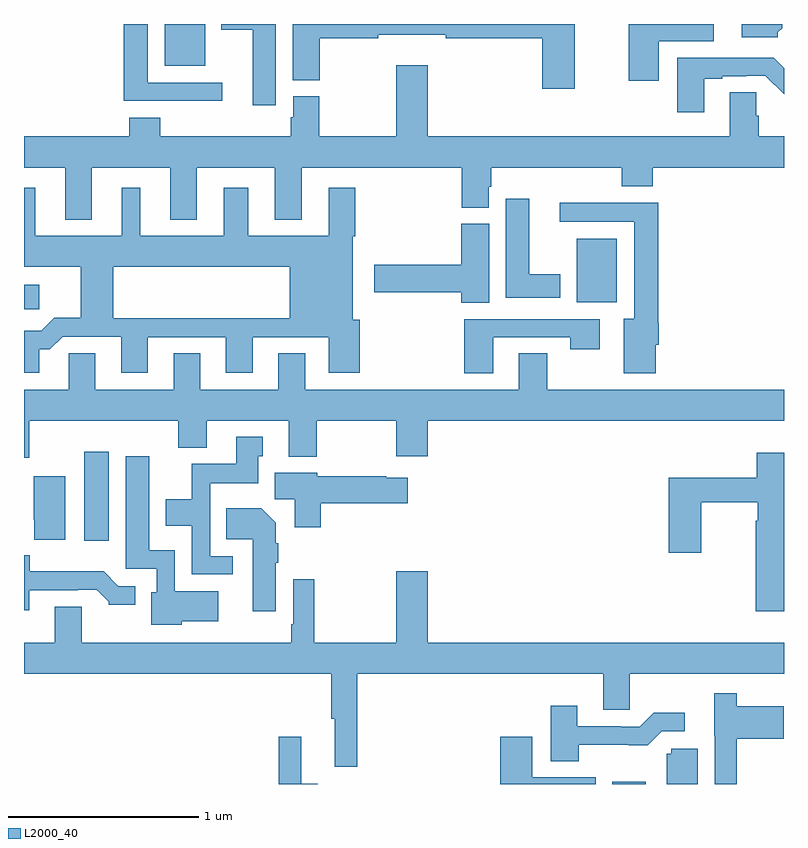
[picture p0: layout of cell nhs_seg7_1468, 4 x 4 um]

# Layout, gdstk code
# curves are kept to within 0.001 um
import gdstk
lib = gdstk.Library(unit=1e-6, precision=1e-09)
def R(c, l, rs):  # rectangles x0, y0, x1, y1
    for r in rs: c.add(gdstk.rectangle(r[:2], r[2:], *l))
def P(c, l, *ps):  # polygons
    for p in ps: c.add(gdstk.Polygon(p, *l))
L2000_40 = (2000, 40)

nhs_seg7_1468 = lib.new_cell('nhs_seg7_1468')
R(nhs_seg7_1468, L2000_40, [(214.095,1036,214.273,1036.012), (211.316,1037.28,211.447,1037.749), (211,1038.499,211.081,1038.628), (213.908,1038.536,214.12,1038.871), (211.742,1039.781,211.954,1040)])
P(nhs_seg7_1468, L2000_40, [(213.898,1040),(212.414,1040),(212.414,1039.705),(212.556,1039.705),(212.556,1039.924),(212.864,1039.924),(212.864,1039.943),(213.22,1039.943),(213.22,1039.924),(213.728,1039.924),(213.728,1039.659),(213.898,1039.659)],
  [(214.968,1039.956),(214.99,1039.978),(214.99,1040),(214.778,1040),(214.778,1039.931),(214.968,1039.931)],
  [(214.342,1039.91),(214.63,1039.91),(214.63,1040),(214.184,1040),(214.184,1039.701),(214.342,1039.701)],
  [(212.326,1040),(212.039,1040),(212.039,1039.97),(212.204,1039.97),(212.204,1039.572),(212.326,1039.572)],
  [(212.044,1039.692),(211.651,1039.692),(211.651,1040),(211.526,1040),(211.526,1039.595),(212.044,1039.595)],
  [(214.579,1039.713),(214.675,1039.713),(214.675,1039.725),(214.802,1039.725),(214.802,1039.728),(214.902,1039.728),(215,1039.631),(215,1039.768),(214.946,1039.822),(214.439,1039.822),(214.439,1039.536),(214.579,1039.536)],
  [(211.357,1039.244),(211.769,1039.244),(211.769,1038.971),(211.909,1038.971),(211.909,1039.244),(212.321,1039.244),(212.321,1038.971),(212.461,1038.971),(212.461,1039.244),(213.305,1039.244),(213.305,1039.033),(213.445,1039.033),(213.445,1039.143),(213.458,1039.143),(213.458,1039.244),(214.145,1039.244),(214.145,1039.145),(214.31,1039.145),(214.31,1039.244),(215,1039.244),(215,1039.408),(214.868,1039.408),(214.868,1039.518),(214.854,1039.518),(214.854,1039.64),(214.715,1039.64),(214.715,1039.408),(213.124,1039.408),(213.124,1039.783),(212.96,1039.783),(212.96,1039.408),(212.553,1039.408),(212.553,1039.62),(212.417,1039.62),(212.417,1039.509),(212.405,1039.509),(212.405,1039.408),(211.718,1039.408),(211.718,1039.507),(211.553,1039.507),(211.553,1039.408),(211,1039.408),(211,1039.244),(211.217,1039.244),(211.217,1038.971),(211.357,1038.971)],
  [(211,1038.385),(211,1038.165),(211.081,1038.165),(211.081,1038.287),(211.136,1038.287),(211.203,1038.354),(211.511,1038.354),(211.511,1038.165),(211.651,1038.165),(211.651,1038.351),(212.063,1038.351),(212.063,1038.165),(212.203,1038.165),(212.203,1038.351),(212.603,1038.351),(212.603,1038.165),(212.768,1038.165),(212.768,1038.444),(212.731,1038.444),(212.731,1038.882),(212.744,1038.882),(212.744,1039.138),(212.603,1039.138),(212.603,1038.886),(212.179,1038.886),(212.179,1039.138),(212.051,1039.138),(212.051,1038.886),(211.612,1038.886),(211.612,1039.138),(211.514,1039.138),(211.514,1038.886),(211.06,1038.886),(211.06,1039.138),(211,1039.138),(211,1038.722),(211.298,1038.722),(211.298,1038.455),(211.16,1038.455),(211.157,1038.452),(211.469,1038.452),(211.469,1038.722),(212.399,1038.722),(212.399,1038.452),(211.157,1038.452),(211.09,1038.385)],
  [(213.823,1038.682),(213.658,1038.682),(213.658,1039.081),(213.536,1039.081),(213.536,1038.56),(213.823,1038.56)],
  [(214.324,1038.312),(214.342,1038.312),(214.342,1038.426),(214.337,1038.426),(214.337,1039.058),(213.819,1039.058),(213.819,1038.96),(214.211,1038.96),(214.211,1038.448),(214.157,1038.448),(214.157,1038.162),(214.324,1038.162)],
  [(213.448,1038.948),(213.302,1038.948),(213.302,1038.734),(212.844,1038.734),(212.844,1038.587),(213.302,1038.587),(213.302,1038.532),(213.448,1038.532)],
  [(213.469,1038.351),(213.874,1038.351),(213.874,1038.288),(214.03,1038.288),(214.03,1038.447),(213.317,1038.447),(213.317,1038.162),(213.469,1038.162)],
  [(211.027,1037.912),(211.811,1037.912),(211.811,1037.771),(211.963,1037.771),(211.963,1037.912),(212.393,1037.912),(212.393,1037.723),(212.541,1037.723),(212.541,1037.912),(212.96,1037.912),(212.96,1037.724),(213.124,1037.724),(213.124,1037.912),(215,1037.912),(215,1038.076),(213.753,1038.076),(213.753,1038.266),(213.605,1038.266),(213.605,1038.076),(212.479,1038.076),(212.479,1038.266),(212.339,1038.266),(212.339,1038.076),(211.927,1038.076),(211.927,1038.266),(211.787,1038.266),(211.787,1038.076),(211.375,1038.076),(211.375,1038.266),(211.236,1038.266),(211.236,1038.076),(211,1038.076),(211,1037.718),(211.027,1037.718)],
  [(212.098,1037.199),(211.98,1037.199),(211.98,1037.582),(212.233,1037.582),(212.233,1037.724),(212.257,1037.724),(212.257,1037.827),(212.117,1037.827),(212.117,1037.686),(211.882,1037.686),(211.882,1037.5),(211.745,1037.5),(211.745,1037.36),(211.884,1037.36),(211.884,1037.103),(212.098,1037.103)],
  [(215,1037.743),(214.856,1037.743),(214.856,1037.611),(214.394,1037.611),(214.394,1037.217),(214.564,1037.217),(214.564,1037.482),(214.861,1037.482),(214.861,1037.385),(214.85,1037.385),(214.85,1036.908),(215,1036.908)],
  [(211.83,1036.856),(212.023,1036.856),(212.023,1037.014),(211.794,1037.014),(211.794,1037.23),(211.66,1037.23),(211.66,1037.725),(211.535,1037.725),(211.535,1037.133),(211.698,1037.133),(211.698,1037.01),(211.67,1037.01),(211.67,1036.838),(211.83,1036.838)],
  [(212.561,1037.477),(213.019,1037.477),(213.019,1037.611),(212.906,1037.611),(212.906,1037.619),(212.544,1037.619),(212.544,1037.638),(212.321,1037.638),(212.321,1037.5),(212.426,1037.5),(212.426,1037.352),(212.561,1037.352)],
  [(211.216,1037.62),(211.052,1037.62),(211.052,1037.392),(211.054,1037.392),(211.054,1037.285),(211.216,1037.285)],
  [(212.326,1037.164),(212.339,1037.164),(212.339,1037.267),(212.326,1037.267),(212.326,1037.374),(212.248,1037.452),(212.065,1037.452),(212.065,1037.288),(212.204,1037.288),(212.204,1036.908),(212.326,1036.908)],
  [(211.027,1037.019),(211.283,1037.019),(211.283,1037.022),(211.382,1037.022),(211.446,1036.958),(211.446,1036.943),(211.585,1036.943),(211.585,1037.04),(211.497,1037.04),(211.419,1037.119),(211.03,1037.119),(211.03,1037.203),(211,1037.203),(211,1036.914),(211.027,1036.914)],
  [(212.753,1036.58),(214.049,1036.58),(214.049,1036.39),(214.188,1036.39),(214.188,1036.58),(215,1036.58),(215,1036.744),(213.124,1036.744),(213.124,1037.119),(212.96,1037.119),(212.96,1036.744),(212.527,1036.744),(212.527,1037.077),(212.418,1037.077),(212.418,1036.84),(212.406,1036.84),(212.406,1036.744),(211.303,1036.744),(211.303,1036.934),(211.163,1036.934),(211.163,1036.744),(211,1036.744),(211,1036.58),(212.617,1036.58),(212.617,1036.344),(212.636,1036.344),(212.636,1036.092),(212.753,1036.092)],
  [(214.751,1036.238),(214.999,1036.238),(214.999,1036.408),(214.751,1036.408),(214.751,1036.477),(214.634,1036.477),(214.634,1036.254),(214.635,1036.254),(214.635,1036),(214.751,1036)],
  [(213.921,1036.206),(214.283,1036.205),(214.356,1036.278),(214.477,1036.278),(214.477,1036.375),(214.315,1036.375),(214.242,1036.302),(214.142,1036.302),(214.142,1036.305),(213.913,1036.305),(213.913,1036.411),(213.773,1036.411),(213.773,1036.121),(213.921,1036.121)],
  [(212.545,1036.001),(212.459,1036.001),(212.459,1036.249),(212.341,1036.249),(212.341,1036),(212.545,1036)],
  [(214.01,1036.036),(213.676,1036.036),(213.676,1036.249),(213.506,1036.249),(213.506,1036),(214.01,1036)],
  [(214.546,1036.185),(214.407,1036.185),(214.407,1036.158),(214.382,1036.158),(214.382,1036),(214.546,1036)])

lib.write_gds('nhs_seg7_1468.gds')
